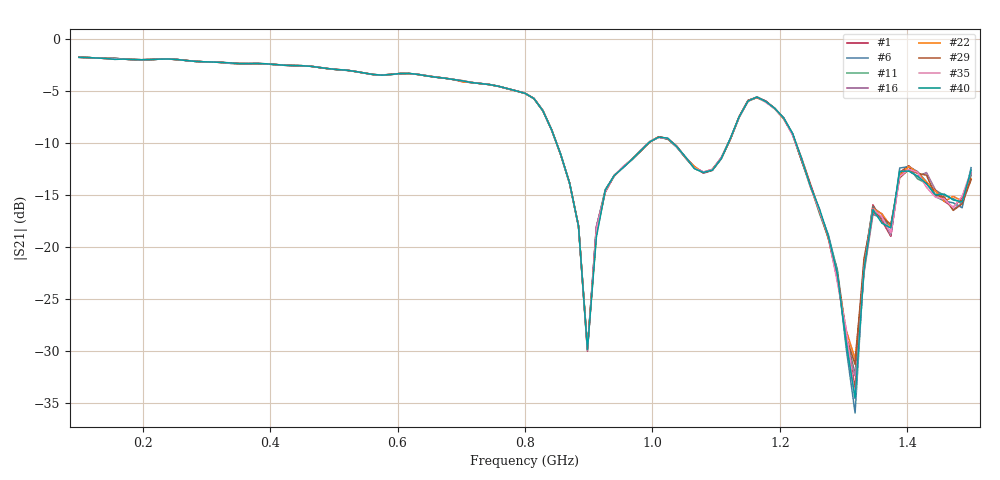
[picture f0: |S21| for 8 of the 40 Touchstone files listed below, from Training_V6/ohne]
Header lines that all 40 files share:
! NanoVNA-App
! Start: 100MHz Stop: 1,5GHz Points: 101
! S-Parameter data: F S11 S21 S12 S22
# Hz S RI R 50
!  Frequency  S11_Real  S11_Imag  S21_Real  S21_Imag  S12_Real  S12_Imag  S22_Real  S22_Imag
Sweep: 100 MHz to 1.5 GHz
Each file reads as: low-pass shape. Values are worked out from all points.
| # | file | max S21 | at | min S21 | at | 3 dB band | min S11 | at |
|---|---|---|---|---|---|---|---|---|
| 1 | ohne (401).s2p | -1.79 dB | 100 MHz | -33.5 dB | 1.318 GHz | 100 MHz-758 MHz | -40.3 dB | 716 MHz |
| 2 | ohne (402).s2p | -1.79 dB | 100 MHz | -33.1 dB | 1.318 GHz | 100 MHz-758 MHz | -40.1 dB | 716 MHz |
| 3 | ohne (403).s2p | -1.79 dB | 100 MHz | -32.8 dB | 1.318 GHz | 100 MHz-758 MHz | -40.5 dB | 716 MHz |
| 4 | ohne (404).s2p | -1.79 dB | 100 MHz | -31.5 dB | 1.318 GHz | 100 MHz-772 MHz | -41.3 dB | 716 MHz |
| 5 | ohne (405).s2p | -1.79 dB | 100 MHz | -32.0 dB | 1.318 GHz | 100 MHz-758 MHz | -41.2 dB | 716 MHz |
| 6 | ohne (406).s2p | -1.79 dB | 100 MHz | -35.9 dB | 1.318 GHz | 100 MHz-758 MHz | -40.7 dB | 716 MHz |
| 7 | ohne (407).s2p | -1.79 dB | 100 MHz | -35.5 dB | 1.318 GHz | 100 MHz-772 MHz | -40.8 dB | 716 MHz |
| 8 | ohne (408).s2p | -1.79 dB | 100 MHz | -32.1 dB | 1.318 GHz | 100 MHz-772 MHz | -40.7 dB | 716 MHz |
| 9 | ohne (409).s2p | -1.79 dB | 100 MHz | -32.6 dB | 1.318 GHz | 100 MHz-758 MHz | -40.3 dB | 716 MHz |
| 10 | ohne (410).s2p | -1.79 dB | 100 MHz | -34.5 dB | 1.318 GHz | 100 MHz-758 MHz | -40.8 dB | 716 MHz |
| 11 | ohne (411).s2p | -1.79 dB | 100 MHz | -32.2 dB | 1.318 GHz | 100 MHz-758 MHz | -40.6 dB | 716 MHz |
| 12 | ohne (412).s2p | -1.79 dB | 100 MHz | -34.0 dB | 1.318 GHz | 100 MHz-758 MHz | -41.5 dB | 716 MHz |
| 13 | ohne (413).s2p | -1.79 dB | 100 MHz | -31.9 dB | 1.318 GHz | 100 MHz-758 MHz | -40.9 dB | 716 MHz |
| 14 | ohne (414).s2p | -1.79 dB | 100 MHz | -33.2 dB | 1.318 GHz | 100 MHz-758 MHz | -41.3 dB | 716 MHz |
| 15 | ohne (415).s2p | -1.79 dB | 100 MHz | -34.6 dB | 1.318 GHz | 100 MHz-758 MHz | -40.7 dB | 716 MHz |
| 16 | ohne (416).s2p | -1.79 dB | 100 MHz | -32.4 dB | 1.318 GHz | 100 MHz-772 MHz | -40.4 dB | 716 MHz |
| 17 | ohne (417).s2p | -1.79 dB | 100 MHz | -32.4 dB | 1.318 GHz | 100 MHz-758 MHz | -40.2 dB | 716 MHz |
| 18 | ohne (418).s2p | -1.79 dB | 100 MHz | -34.0 dB | 1.318 GHz | 100 MHz-758 MHz | -41.0 dB | 716 MHz |
| 19 | ohne (419).s2p | -1.79 dB | 100 MHz | -33.2 dB | 1.318 GHz | 100 MHz-758 MHz | -41.3 dB | 716 MHz |
| 20 | ohne (420).s2p | -1.79 dB | 100 MHz | -31.3 dB | 1.318 GHz | 100 MHz-758 MHz | -40.6 dB | 716 MHz |
| 21 | ohne (421).s2p | -1.79 dB | 100 MHz | -31.7 dB | 1.318 GHz | 100 MHz-758 MHz | -41.2 dB | 716 MHz |
| 22 | ohne (422).s2p | -1.79 dB | 100 MHz | -30.8 dB | 1.318 GHz | 100 MHz-758 MHz | -41.0 dB | 716 MHz |
| 23 | ohne (423).s2p | -1.79 dB | 100 MHz | -34.6 dB | 1.318 GHz | 100 MHz-758 MHz | -40.8 dB | 716 MHz |
| 24 | ohne (424).s2p | -1.79 dB | 100 MHz | -32.0 dB | 1.318 GHz | 100 MHz-758 MHz | -41.2 dB | 716 MHz |
| 25 | ohne (425).s2p | -1.79 dB | 100 MHz | -36.0 dB | 1.318 GHz | 100 MHz-758 MHz | -41.0 dB | 716 MHz |
| 26 | ohne (426).s2p | -1.79 dB | 100 MHz | -33.2 dB | 1.318 GHz | 100 MHz-758 MHz | -41.3 dB | 716 MHz |
| 27 | ohne (427).s2p | -1.79 dB | 100 MHz | -34.4 dB | 1.318 GHz | 100 MHz-758 MHz | -39.9 dB | 716 MHz |
| 28 | ohne (428).s2p | -1.79 dB | 100 MHz | -31.2 dB | 1.318 GHz | 100 MHz-758 MHz | -40.2 dB | 716 MHz |
| 29 | ohne (429).s2p | -1.79 dB | 100 MHz | -31.3 dB | 1.318 GHz | 100 MHz-758 MHz | -40.4 dB | 716 MHz |
| 30 | ohne (430).s2p | -1.79 dB | 100 MHz | -32.7 dB | 1.318 GHz | 100 MHz-758 MHz | -40.6 dB | 716 MHz |
| 31 | ohne (431).s2p | -1.79 dB | 100 MHz | -31.3 dB | 1.318 GHz | 100 MHz-758 MHz | -39.9 dB | 716 MHz |
| 32 | ohne (432).s2p | -1.79 dB | 100 MHz | -32.4 dB | 1.318 GHz | 100 MHz-758 MHz | -40.2 dB | 716 MHz |
| 33 | ohne (433).s2p | -1.79 dB | 100 MHz | -31.3 dB | 1.318 GHz | 100 MHz-758 MHz | -40.0 dB | 716 MHz |
| 34 | ohne (434).s2p | -1.79 dB | 100 MHz | -33.2 dB | 1.318 GHz | 100 MHz-758 MHz | -40.1 dB | 716 MHz |
| 35 | ohne (435).s2p | -1.79 dB | 100 MHz | -34.5 dB | 1.318 GHz | 100 MHz-758 MHz | -41.4 dB | 716 MHz |
| 36 | ohne (436).s2p | -1.79 dB | 100 MHz | -34.9 dB | 1.318 GHz | 100 MHz-758 MHz | -40.0 dB | 716 MHz |
| 37 | ohne (437).s2p | -1.79 dB | 100 MHz | -35.2 dB | 1.318 GHz | 100 MHz-758 MHz | -40.9 dB | 716 MHz |
| 38 | ohne (438).s2p | -1.79 dB | 100 MHz | -32.7 dB | 1.318 GHz | 100 MHz-758 MHz | -40.2 dB | 716 MHz |
| 39 | ohne (439).s2p | -1.79 dB | 100 MHz | -33.0 dB | 1.318 GHz | 100 MHz-772 MHz | -41.3 dB | 716 MHz |
| 40 | ohne (440).s2p | -1.79 dB | 100 MHz | -34.5 dB | 1.318 GHz | 100 MHz-772 MHz | -40.5 dB | 716 MHz |
